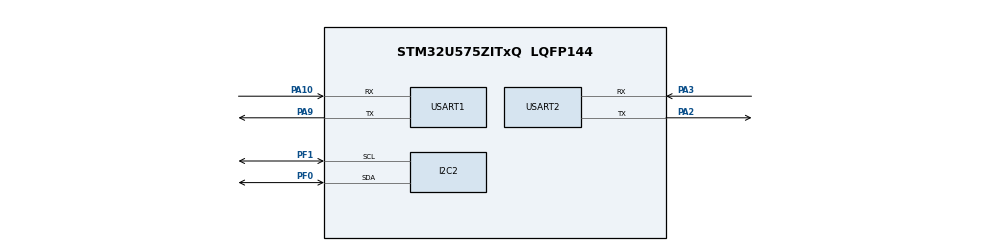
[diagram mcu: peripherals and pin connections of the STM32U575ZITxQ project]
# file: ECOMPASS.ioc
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CORTEX_M33_NS.userName=CORTEX_M33
I2C2.Timing=0x00000E14
Mcu.Family=STM32U5
Mcu.Name=STM32U575ZITxQ
Mcu.Package=LQFP144
NVIC.PriorityGroup=NVIC_PRIORITYGROUP_4
PA10.Mode=Asynchronous
PA10.Signal=USART1_RX
PA2.Mode=Asynchronous
PA2.Signal=USART2_TX
PA3.Mode=Asynchronous
PA3.Signal=USART2_RX
PA9.Mode=Asynchronous
PA9.Signal=USART1_TX
PF0.GPIO_Pu=GPIO_PULLUP
PF0.Mode=I2C
PF0.Signal=I2C2_SDA
PF1.GPIO_Pu=GPIO_PULLUP
PF1.Mode=I2C
PF1.Signal=I2C2_SCL
ProjectManager.HeapSize=0x200
ProjectManager.StackSize=0x400
ProjectManager.TargetToolchain=STM32CubeIDE
RCC.ADCFreq_Value=16000000
RCC.EPOD_VALUE=4000000
RCC.HSE_VALUE=16000000
RCC.HSI48_VALUE=48000000
RCC.HSI_VALUE=16000000
RCC.LSE_VALUE=32768
RCC.LSIDIV_VALUE=32000
RCC.MSI_VALUE=4000000
RCC.USBFreq_Value=48000000
RCC.VCOOutputFreq_Value=516000000
USART1.VirtualMode-Asynchronous=VM_ASYNC
USART2.VirtualMode-Asynchronous=VM_ASYNC
VP_LPBAMQUEUE_VS_QUEUE.Mode=QUEUEMODE
VP_LPBAM_VS_SIG1.Mode=SmartRun
VP_LPBAM_VS_SIG4.Mode=LPDMA1
VP_MEMORYMAP_VS_MEMORYMAP.Mode=CurAppReg
VP_PWR_VS_SECSignals.Mode=Security/Privilege
board=custom

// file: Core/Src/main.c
/* USER CODE BEGIN Header */
/**
  ******************************************************************************
  * @file           : main.c
  * @brief          : Main program body
  ******************************************************************************
  * @attention
  *
  * Copyright (c) 2024 STMicroelectronics.
  * All rights reserved.
  *
  * This software is licensed under terms that can be found in the LICENSE file
  * in the root directory of this software component.
  * If no LICENSE file comes with this software, it is provided AS-IS.
  *
  ******************************************************************************
  */
/* USER CODE END Header */
#include "main.h"

/* USER CODE BEGIN Includes */
#include <string.h>
#include <stdio.h>
#include "ecompass.h"
/* USER CODE END Includes */

/* USER CODE BEGIN PM */
#define DEBUG_ECOMPASS 1
///#define DEBUG_ADC 1
/* USER CODE END PM */

I2C_HandleTypeDef hi2c2;

UART_HandleTypeDef huart1;
UART_HandleTypeDef huart2;

void SystemClock_Config(void);
static void MX_GPIO_Init(void);
static void MX_I2C2_Init(void);
static void MX_USART2_UART_Init(void);
static void MX_USART1_UART_Init(void);

/* USER CODE BEGIN 0 */
int _write(int file, char *ptr, int len)
{
	HAL_UART_Transmit(&huart1, (uint8_t*)ptr, len, HAL_MAX_DELAY);
	return len;
}
/* USER CODE END 0 */

int main(void)
{
  /* USER CODE BEGIN 1 */
	uint16_t raw;
	char msg[10];

	uint8_t softversion;
	uint16_t bearing;

  /* USER CODE END 1 */

  /* MCU Configuration--------------------------------------------------------*/

  /* Reset of all peripherals, Initializes the Flash interface and the Systick. */
  HAL_Init();

  /* Configure the system clock */
  SystemClock_Config();

  /* Initialize all configured peripherals */
  MX_GPIO_Init();
  MX_I2C2_Init();
  MX_USART2_UART_Init();
  MX_USART1_UART_Init();

  /* Infinite loop */
  /* USER CODE BEGIN WHILE */
  printf("main\r\n");

  ecompass_rd(EC_REG_SOFTVERSION, &softversion);
  printf("Soft version: %x \r\n", softversion);

  while (1)
  {

#ifdef DEBUG_ADC
	  // Test: Set GPIO pin high
	     HAL_GPIO_WritePin(GPIOA, GPIO_PIN_10, GPIO_PIN_SET);

	     // Get ADC value
	     HAL_ADC_Start(&hadc1);
	     HAL_ADC_PollForConversion(&hadc1, HAL_MAX_DELAY);
	     raw = HAL_ADC_GetValue(&hadc1);
	     // Test: Set GPIO pin low
	     //HAL_GPIO_WritePin(GPIOA, GPIO_PIN_10, GPIO_PIN_RESET);

	     // Convert to string and print
	     printf("%hu\r\n", raw);
#endif

	     //Test e-compass
#ifdef DEBUG_ECOMPASS

	     ecompass_getBearing(&bearing);

	     if (ecompass_isCalibrated(EC_CAL_MAGNETO) == EC_CALIBRATED) {
	    	 printf("Cal ok \r\n");
	     }
	     else printf("Cal not ok \r\n");

		 printf("Bearing: %d \r\n", bearing);

#endif

	     // Pretend we have to do something else for a while
	     HAL_Delay(1000);
    /* USER CODE END WHILE */

  }
}

void SystemClock_Config(void)
{
  RCC_OscInitTypeDef RCC_OscInitStruct = {0};
  RCC_ClkInitTypeDef RCC_ClkInitStruct = {0};

  /** Configure the main internal regulator output voltage
  */
  if (HAL_PWREx_ControlVoltageScaling(PWR_REGULATOR_VOLTAGE_SCALE4) != HAL_OK)
  {
    Error_Handler();
  }

  /** Initializes the CPU, AHB and APB buses clocks
  */
  RCC_OscInitStruct.OscillatorType = RCC_OSCILLATORTYPE_MSI;
  RCC_OscInitStruct.MSIState = RCC_MSI_ON;
  RCC_OscInitStruct.MSICalibrationValue = RCC_MSICALIBRATION_DEFAULT;
  RCC_OscInitStruct.MSIClockRange = RCC_MSIRANGE_4;
  RCC_OscInitStruct.PLL.PLLState = RCC_PLL_NONE;
  if (HAL_RCC_OscConfig(&RCC_OscInitStruct) != HAL_OK)
  {
    Error_Handler();
  }

  /** Initializes the CPU, AHB and APB buses clocks
  */
  RCC_ClkInitStruct.ClockType = RCC_CLOCKTYPE_HCLK|RCC_CLOCKTYPE_SYSCLK
                              |RCC_CLOCKTYPE_PCLK1|RCC_CLOCKTYPE_PCLK2
                              |RCC_CLOCKTYPE_PCLK3;
  RCC_ClkInitStruct.SYSCLKSource = RCC_SYSCLKSOURCE_MSI;
  RCC_ClkInitStruct.AHBCLKDivider = RCC_SYSCLK_DIV1;
  RCC_ClkInitStruct.APB1CLKDivider = RCC_HCLK_DIV1;
  RCC_ClkInitStruct.APB2CLKDivider = RCC_HCLK_DIV1;
  RCC_ClkInitStruct.APB3CLKDivider = RCC_HCLK_DIV1;

  if (HAL_RCC_ClockConfig(&RCC_ClkInitStruct, FLASH_LATENCY_0) != HAL_OK)
  {
    Error_Handler();
  }
}

static void MX_I2C2_Init(void)
{

  hi2c2.Instance = I2C2;
  hi2c2.Init.Timing = 0x00000E14;
  hi2c2.Init.OwnAddress1 = 0;
  hi2c2.Init.AddressingMode = I2C_ADDRESSINGMODE_7BIT;
  hi2c2.Init.DualAddressMode = I2C_DUALADDRESS_DISABLE;
  hi2c2.Init.OwnAddress2 = 0;
  hi2c2.Init.OwnAddress2Masks = I2C_OA2_NOMASK;
  hi2c2.Init.GeneralCallMode = I2C_GENERALCALL_DISABLE;
  hi2c2.Init.NoStretchMode = I2C_NOSTRETCH_DISABLE;
  if (HAL_I2C_Init(&hi2c2) != HAL_OK)
  {
    Error_Handler();
  }

  /** Configure Analogue filter
  */
  if (HAL_I2CEx_ConfigAnalogFilter(&hi2c2, I2C_ANALOGFILTER_ENABLE) != HAL_OK)
  {
    Error_Handler();
  }

  /** Configure Digital filter
  */
  if (HAL_I2CEx_ConfigDigitalFilter(&hi2c2, 0) != HAL_OK)
  {
    Error_Handler();
  }

}

static void MX_USART1_UART_Init(void)
{

  huart1.Instance = USART1;
  huart1.Init.BaudRate = 115200;
  huart1.Init.WordLength = UART_WORDLENGTH_8B;
  huart1.Init.StopBits = UART_STOPBITS_1;
  huart1.Init.Parity = UART_PARITY_NONE;
  huart1.Init.Mode = UART_MODE_TX_RX;
  huart1.Init.HwFlowCtl = UART_HWCONTROL_NONE;
  huart1.Init.OverSampling = UART_OVERSAMPLING_16;
  huart1.Init.OneBitSampling = UART_ONE_BIT_SAMPLE_DISABLE;
  huart1.Init.ClockPrescaler = UART_PRESCALER_DIV1;
  huart1.AdvancedInit.AdvFeatureInit = UART_ADVFEATURE_NO_INIT;
  if (HAL_UART_Init(&huart1) != HAL_OK)
  {
    Error_Handler();
  }
  if (HAL_UARTEx_SetTxFifoThreshold(&huart1, UART_TXFIFO_THRESHOLD_1_8) != HAL_OK)
  {
    Error_Handler();
  }
  if (HAL_UARTEx_SetRxFifoThreshold(&huart1, UART_RXFIFO_THRESHOLD_1_8) != HAL_OK)
  {
    Error_Handler();
  }
  if (HAL_UARTEx_DisableFifoMode(&huart1) != HAL_OK)
  {
    Error_Handler();
  }

}

static void MX_USART2_UART_Init(void)
{

  huart2.Instance = USART2;
  huart2.Init.BaudRate = 115200;
  huart2.Init.WordLength = UART_WORDLENGTH_8B;
  huart2.Init.StopBits = UART_STOPBITS_1;
  huart2.Init.Parity = UART_PARITY_NONE;
  huart2.Init.Mode = UART_MODE_TX_RX;
  huart2.Init.HwFlowCtl = UART_HWCONTROL_NONE;
  huart2.Init.OverSampling = UART_OVERSAMPLING_16;
  huart2.Init.OneBitSampling = UART_ONE_BIT_SAMPLE_DISABLE;
  huart2.Init.ClockPrescaler = UART_PRESCALER_DIV1;
  huart2.AdvancedInit.AdvFeatureInit = UART_ADVFEATURE_NO_INIT;
  if (HAL_UART_Init(&huart2) != HAL_OK)
  {
    Error_Handler();
  }
  if (HAL_UARTEx_SetTxFifoThreshold(&huart2, UART_TXFIFO_THRESHOLD_1_8) != HAL_OK)
  {
    Error_Handler();
  }
  if (HAL_UARTEx_SetRxFifoThreshold(&huart2, UART_RXFIFO_THRESHOLD_1_8) != HAL_OK)
  {
    Error_Handler();
  }
  if (HAL_UARTEx_DisableFifoMode(&huart2) != HAL_OK)
  {
    Error_Handler();
  }

}

static void MX_GPIO_Init(void)
{

  /* GPIO Ports Clock Enable */
  __HAL_RCC_GPIOF_CLK_ENABLE();
  __HAL_RCC_GPIOA_CLK_ENABLE();

}

void Error_Handler(void)
{
  __disable_irq();
  while (1)
  {
  }
}
